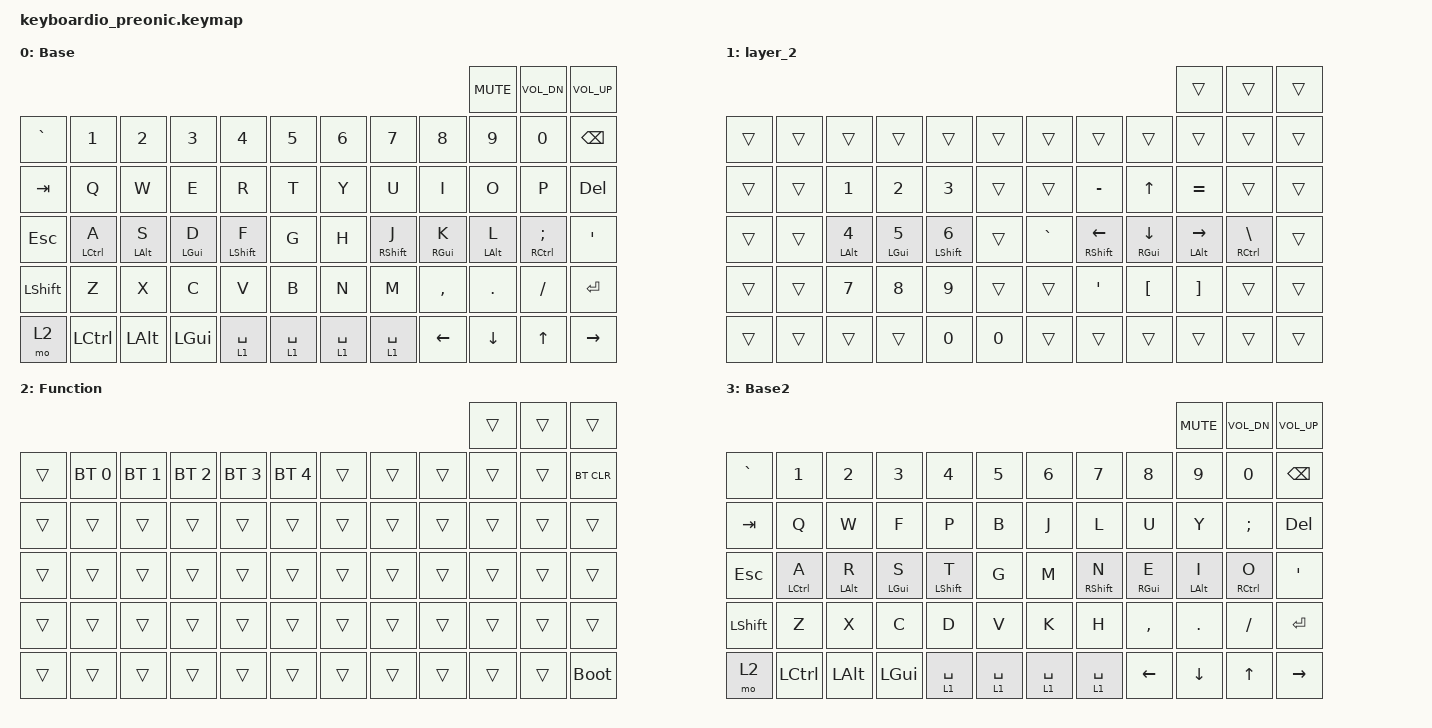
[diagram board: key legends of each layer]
/*
 * Copyright (c) 2022 Pete Johanson
 *
 * SPDX-License-Identifier: MIT
 */

#include <behaviors.dtsi>
#include <dt-bindings/zmk/bt.h>
#include <dt-bindings/zmk/keys.h>

#define LOWER 1
#define RAISE 2
#define FN 3

// Hyper key: all the modifiers

#define HYPER LC(LS(LA(LGUI)))

/ {
    chosen {
        // Valid choices: [ &mit_layout, &ortho_layout ]

        zmk,physical-layout = &ortho_layout;
    };

    combos {
        compatible = "zmk,combos";

        caps_word {
            bindings = <&caps_word>;
            key-positions = <31 34>;
        };

        tab {
            bindings = <&kp TAB>;
            key-positions = <31 30>;
        };

        bspc {
            bindings = <&kp BSPC>;
            key-positions = <34 35>;
        };

        esc {
            bindings = <&kp ESC>;
            key-positions = <29 30 31>;
        };

        ent {
            bindings = <&kp ENTER>;
            key-positions = <34 35 36>;
        };
    };

    behaviors {
        hml: hml {
            compatible = "zmk,behavior-hold-tap";
            label = "HML";
            #binding-cells = <2>;
            flavor = "balanced";
            tapping-term-ms = <200>;
            bindings = <&kp>, <&kp>;

            hold-trigger-key-positions = <9 10 11 21 22 23 33 34 35 12 14 13 45 46 47 49 48 50 62 61 59 57 58 60 24 25 26 38 37 36 0 1 2>;
        };

        hmr: hmr {
            compatible = "zmk,behavior-hold-tap";
            label = "HMR";
            #binding-cells = <2>;
            flavor = "balanced";
            tapping-term-ms = <200>;
            bindings = <&kp>, <&kp>;

            hold-trigger-key-positions = <3 4 5 6 7 8 15 16 17 18 19 20 27 28 29 30 31 32 39 40 41 42 43 44 51 52 53 54 55 56>;
        };

        /**
         * Temporarily switches to a layer (`&mo`) while a modifier is held.
         * Analogous to QMK's `LM()`, using a parameterized macro.
         *
         * Params:
         *  1. Layer to switch to
         *  2. Modifier to press while layer is active
         *
         * Example:
         *  `&lm NUM_LAYER LSHIFT`
         */

        lm: lm {
            compatible = "zmk,behavior-macro-two-param";
            wait-ms = <0>;
            tap-ms = <0>;
            #binding-cells = <2>;
            bindings =
                <&macro_param_1to1>,
                <&macro_press>,
                <&mo MACRO_PLACEHOLDER &macro_param_2to1>,
                <&macro_press>,
                <&kp MACRO_PLACEHOLDER>,
                <&macro_pause_for_release>,
                <&macro_param_2to1>,
                <&macro_release>,
                <&kp MACRO_PLACEHOLDER &macro_param_1to1>,
                <&macro_release>,
                <&mo MACRO_PLACEHOLDER>;
        };
    };

    macros {
    };

    keymap {
        compatible = "zmk,keymap";

        base_layer {
            label = "Base";
            bindings = <
                                                                                                                       &kp C_MUTE   &kp C_VOL_DN     &kp C_VOL_UP
&kp GRAVE   &kp N1        &kp N2       &kp N3       &kp N4        &kp N5       &kp N6       &kp N7        &kp N8       &kp N9       &kp N0           &kp BSPC
&kp TAB     &kp Q         &kp W        &kp E        &kp R         &kp T        &kp Y        &kp U         &kp I        &kp O        &kp P            &kp DEL
&kp ESC     &hml LCTRL A  &hml LALT S  &hml LGUI D  &hml LSHFT F  &kp G        &kp H        &hmr RSHFT J  &hmr RGUI K  &hmr LALT L  &hmr RCTRL SEMI  &kp SQT
&kp LSHIFT  &kp Z         &kp X        &kp C        &kp V         &kp B        &kp N        &kp M         &kp COMMA    &kp DOT      &kp FSLH         &kp RET
&mo 2       &kp LCTRL     &kp LALT     &kp LGUI     &lt 1 SPACE   &lt 1 SPACE  &lt 1 SPACE  &lt 1 SPACE   &kp LEFT     &kp DOWN     &kp UP           &kp RIGHT
            >;
        };

        layer_2 {
            bindings = <
                                                                                                                &trans           &trans           &trans
&trans  &trans  &trans        &trans        &trans         &trans  &trans     &trans            &trans          &trans           &trans           &trans
&trans  &trans  &kp N1        &kp N2        &kp N3         &trans  &trans     &kp MINUS         &kp UP          &kp EQUAL        &trans           &trans
&trans  &trans  &hml LALT N4  &hml LGUI N5  &hml LSHFT N6  &trans  &kp GRAVE  &hmr RSHFT LEFT   &hmr RGUI DOWN  &hmr LALT RIGHT  &hmr RCTRL BSLH  &trans
&trans  &trans  &kp N7        &kp N8        &kp N9         &trans  &trans     &kp SINGLE_QUOTE  &kp LBKT        &kp RBKT         &trans           &trans
&trans  &trans  &trans        &trans        &kp N0         &kp N0  &trans     &trans            &trans          &trans           &trans           &trans
            >;
        };

        func_layer {
            label = "Function";
            bindings = <
                                                                                                      &trans  &trans  &trans
&trans  &bt BT_SEL 0  &bt BT_SEL 1  &bt BT_SEL 2  &bt BT_SEL 3  &bt BT_SEL 4  &trans  &trans  &trans  &trans  &trans  &bt BT_CLR
&trans  &trans        &trans        &trans        &trans        &trans        &trans  &trans  &trans  &trans  &trans  &trans
&trans  &trans        &trans        &trans        &trans        &trans        &trans  &trans  &trans  &trans  &trans  &trans
&trans  &trans        &trans        &trans        &trans        &trans        &trans  &trans  &trans  &trans  &trans  &trans
&trans  &trans        &trans        &trans        &trans        &trans        &trans  &trans  &trans  &trans  &trans  &bootloader
            >;
        };

        layer_3 {
            label = "Base2";
            bindings = <
                                                                                                                       &kp C_MUTE   &kp C_VOL_DN  &kp C_VOL_UP
&kp GRAVE   &kp N1        &kp N2       &kp N3       &kp N4        &kp N5       &kp N6       &kp N7        &kp N8       &kp N9       &kp N0        &kp BSPC
&kp TAB     &kp Q         &kp W        &kp F        &kp P         &kp B        &kp J        &kp L         &kp U        &kp Y        &kp SEMI      &kp DEL
&kp ESC     &hml LCTRL A  &hml LALT R  &hml LGUI S  &hml LSHFT T  &kp G        &kp M        &hmr RSHFT N  &hmr RGUI E  &hmr LALT I  &hmr RCTRL O  &kp SQT
&kp LSHIFT  &kp Z         &kp X        &kp C        &kp D         &kp V        &kp K        &kp H         &kp COMMA    &kp PERIOD   &kp FSLH      &kp RET
&mo 2       &kp LCTRL     &kp LALT     &kp LGUI     &lt 1 SPACE   &lt 1 SPACE  &lt 1 SPACE  &lt 1 SPACE   &kp LEFT     &kp DOWN     &kp UP        &kp RIGHT
            >;
        };
    };
};
